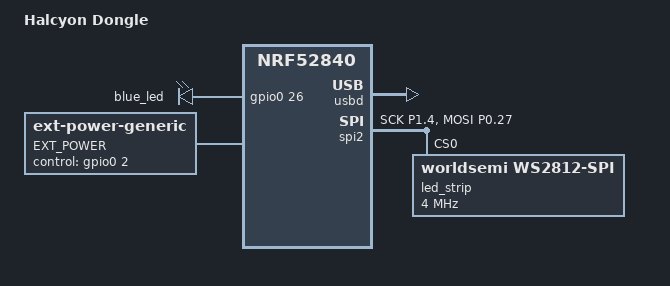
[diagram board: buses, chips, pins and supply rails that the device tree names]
/*
 * Copyright (c) 2021 The ZMK Contributors
 * Copyright (c) 2026 Splitkb.com
 *
 * SPDX-License-Identifier: MIT
 */

/dts-v1/;

#include <nordic/nrf52840_qiaa.dtsi>
#include <dt-bindings/led/led.h>

/ {
    model = "Halcyon Dongle";
    compatible = "splitkb,halcyon-dongle";

    chosen {
        zephyr,code-partition = &code_partition;
        zephyr,sram = &sram0;
        zephyr,flash = &flash0;
        zmk,underglow = &led_strip;
    };

    leds {
        compatible = "gpio-leds";
        blue_led: led_0 {
            gpios = <&gpio0 26 GPIO_ACTIVE_HIGH>;
        };
    };

    EXT_POWER {
        compatible = "zmk,ext-power-generic";
        control-gpios = <&gpio0 2 GPIO_ACTIVE_HIGH>;
        init-delay-ms = <50>;
    };
};

&gpiote {
    status = "okay";
};

&gpio0 {
    status = "okay";
};

zephyr_udc0: &usbd {
    status = "okay";
};

&flash0 {
    /*
     * For more information, see:
     * http://docs.zephyrproject.org/latest/devices/dts/flash_partitions.html
     */
    partitions {
        compatible = "fixed-partitions";
        #address-cells = <1>;
        #size-cells = <1>;

        sd_partition: partition@0 {
            reg = <0x00000000 0x00026000>;
        };
        code_partition: partition@26000 {
            reg = <0x00026000 0x000c6000>;
        };

        /*
         * The flash starting at 0x000ec000 and ending at
         * 0x000f3fff is reserved for use by the application.
         */

        /*
         * Storage partition will be used by FCB/LittleFS/NVS
         * if enabled.
         */
        storage_partition: partition@ec000 {
            reg = <0x000ec000 0x00008000>;
        };

        boot_partition: partition@f4000 {
            reg = <0x000f4000 0x0000c000>;
        };
    };
};

&pinctrl {
    spi2_default: spi2_default {
        group1 {
            psels = <NRF_PSEL(SPIM_SCK, 1, 4)>,
                    <NRF_PSEL(SPIM_MOSI, 0, 27)>;
        };
    };

    spi2_sleep: spi2_sleep {
        group1 {
            psels = <NRF_PSEL(SPIM_SCK, 1, 4)>,
                    <NRF_PSEL(SPIM_MOSI, 0, 27)>;
            low-power-enable;
        };
    };
};

&spi2 {
    compatible = "nordic,nrf-spim";
    status = "okay";

    pinctrl-0 = <&spi2_default>;
    pinctrl-1 = <&spi2_sleep>;
    pinctrl-names = "default", "sleep";

    led_strip: ws2812@0 {
        compatible = "worldsemi,ws2812-spi";

        /* SPI */
        reg = <0>; /* ignored, but necessary for SPI bindings */
        spi-max-frequency = <4000000>;

        /* WS2812 */
        chain-length = <1>; /* arbitrary; change at will */
        spi-one-frame = <0x70>;
        spi-zero-frame = <0x40>;

        color-mapping = <LED_COLOR_ID_GREEN 
                LED_COLOR_ID_RED 
                LED_COLOR_ID_BLUE>;
    };
};
